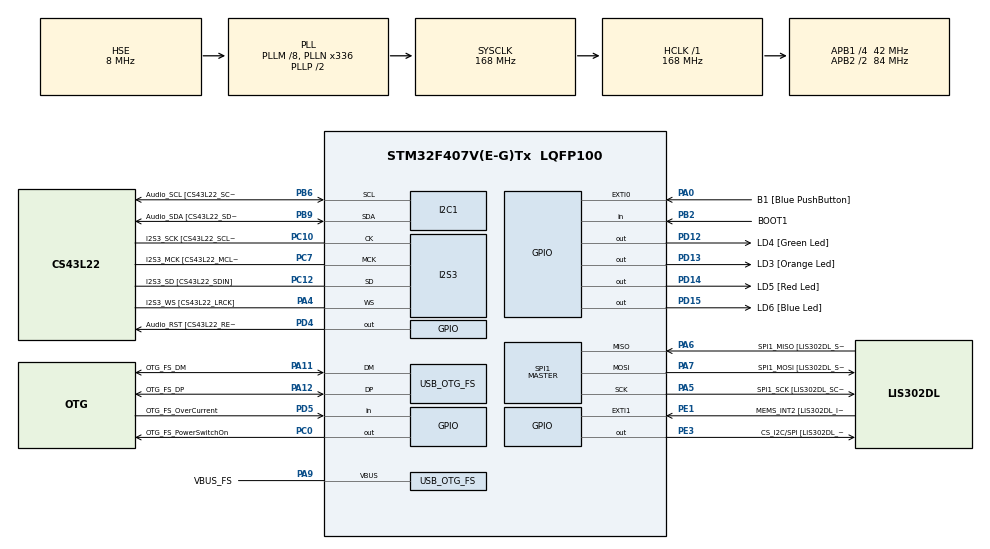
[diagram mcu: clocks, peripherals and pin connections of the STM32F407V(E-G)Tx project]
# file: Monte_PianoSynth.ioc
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PA11.GPIO_Speed=GPIO_SPEED_FREQ_LOW
PD12.GPIO_Label=LD4 [Green Led]
PH0-OSC_IN.Signal=RCC_OSC_IN
PC10.GPIO_PuPd=GPIO_NOPULL
SPI1.VirtualType=VM_MASTER
PB10.GPIO_PuPd=GPIO_NOPULL
PA10.GPIO_PuPd=GPIO_NOPULL
PC12.Signal=I2S3_SD
PA14.GPIO_Label=SWCLK
PA6.GPIO_Label=SPI1_MISO [LIS302DL_SDO]
PB6.GPIO_Label=Audio_SCL [CS43L22_SCL]
PC15-OSC32_OUT.GPIO_Label=PC15-OSC32_OUT
RCC.SYSCLKSource=RCC_SYSCLKSOURCE_PLLCLK
PC3.GPIO_Speed=GPIO_SPEED_FREQ_LOW
PA6.GPIO_Mode=GPIO_MODE_AF_PP
PD14.GPIO_Speed=GPIO_SPEED_FREQ_LOW
PA4.Mode=Half_Duplex_Master
SPI1.Direction=SPI_DIRECTION_2LINES
I2S3.AudioFreq-Half_Duplex_Master=I2S_AUDIOFREQ_96K
PD4.Signal=GPIO_Output
RCC.APB2TimFreq_Value=168000000
PB6.Signal=I2C1_SCL
PC7.Signal=I2S3_MCK
PB6.Mode=I2C
PC3.Signal=I2S2_SD
PE1.Signal=GPXTI1
USB_OTG_FS.phy_itface=HCD_PHY_EMBEDDED
PB2.Signal=GPIO_Input
I2S3.ErrorAudioFreq=-2.34 %
PA5.GPIO_PuPd=GPIO_NOPULL
I2S3.ErrorAudioFreq-Half_Duplex_Master=0.8 %
PD5.GPIO_Mode=GPIO_MODE_INPUT
PD14.GPIO_PuPd=GPIO_NOPULL
PB2.GPIO_PuPd=GPIO_NOPULL
SPI1.CalculateBaudRate-Full_Duplex_Master=42.0 MBits/s
Mcu.Package=LQFP100
PB9.Signal=I2C1_SDA
PD12.Signal=GPIO_Output
PB9.GPIO_PuPd=GPIO_NOPULL
PA10.Signal=USB_OTG_FS_ID
RCC.APB2CLKDivider=RCC_HCLK_DIV2
RCC.APB1TimFreq_Value=84000000
PC12.GPIO_PuPd=GPIO_NOPULL
PA6.GPIO_Speed=GPIO_SPEED_FREQ_LOW
PA12.GPIO_PuPd=GPIO_NOPULL
PA4.GPIO_Label=I2S3_WS [CS43L22_LRCK]
PD15.Signal=GPIO_Output
PC0.PinState=GPIO_PIN_SET
PA5.Mode=Full_Duplex_Master
I2S3.FullDuplexMode=I2S_FULLDUPLEXMODE_DISABLE
PA9.GPIO_Label=VBUS_FS
PB6.GPIO_PuPd=GPIO_NOPULL
PA11.GPIO_Label=OTG_FS_DM
PE1.GPIO_PuPd=GPIO_NOPULL
PC0.Signal=GPIO_Output
RCC.APB1CLKDivider=RCC_HCLK_DIV4
PC14-OSC32_IN.Signal=RCC_OSC32_IN
PA0-WKUP.GPIO_ModeDefaultEXTI=GPIO_MODE_EVT_RISING
PA0-WKUP.GPIO_Label=B1 [Blue PushButton]
PA0-WKUP.Signal=GPXTI0
USB_HOST0.BSP.STBoard=false
PC10.GPIO_Mode=GPIO_MODE_AF_PP
PB10.GPIO_Mode=GPIO_MODE_AF_PP
PA9.Signal=USB_OTG_FS_VBUS
I2S3.VirtualMode=I2S_MODE_MASTER
PC7.GPIO_PuPd=GPIO_NOPULL
PB10.Signal=I2S2_CK
PA5.Signal=SPI1_SCK
PC12.Mode=Half_Duplex_Master
PE1.GPIO_Label=MEMS_INT2 [LIS302DL_INT2]
USB_HOST.VirtualModeFS=Cdc
PA7.GPIO_Speed=GPIO_SPEED_FREQ_LOW
PB2.GPIO_Mode=GPIO_MODE_INPUT
SPI1.Mode=SPI_MODE_MASTER
PD4.GPIO_Speed=GPIO_SPEED_FREQ_LOW
PE3.GPIO_PuPd=GPIO_NOPULL
PH1-OSC_OUT.GPIO_Label=PH1-OSC_OUT
PA13.Mode=Serial_Wire
PC7.GPIO_Label=I2S3_MCK [CS43L22_MCLK]
PA4.Signal=I2S3_WS
PC12.GPIO_Mode=GPIO_MODE_AF_PP
PA5.GPIO_Label=SPI1_SCK [LIS302DL_SCL/SPC]
PE3.GPIO_Speed=GPIO_SPEED_FREQ_LOW
PC12.GPIO_Label=I2S3_SD [CS43L22_SDIN]
PA11.Signal=USB_OTG_FS_DM
ProjectManager.HeapSize=0x200
NVIC.PriorityGroup=NVIC_PRIORITYGROUP_0
PE3.Signal=GPIO_Output
PC3.GPIO_Label=PDM_OUT [MP45DT02_DOUT]
PA0-WKUP.GPIO_PuPd=GPIO_NOPULL
I2S3.Instance=SPI$Index
PB6.GPIO_Speed=GPIO_SPEED_FREQ_LOW
SPI1.BaudRatePrescaler-Full_Duplex_Master=SPI_BAUDRATEPRESCALER_2
USB_HOST0.BSP.mode=Output
Mcu.Family=STM32F4
PC3.GPIO_Mode=GPIO_MODE_AF_PP
PA6.Mode=Full_Duplex_Master
RCC.CortexFreq_Value=168000000
PB10.GPIO_Speed=GPIO_SPEED_FREQ_LOW
PB6.GPIO_Mode=GPIO_MODE_AF_OD
PD15.GPIO_Speed=GPIO_SPEED_FREQ_LOW
PC10.Signal=I2S3_CK
PA7.GPIO_Mode=GPIO_MODE_AF_PP
PC0.GPIO_Label=OTG_FS_PowerSwitchOn
PA11.Mode=Host_Only
PC10.GPIO_Speed=GPIO_SPEED_FREQ_LOW
PA11.GPIO_PuPd=GPIO_NOPULL
ProjectManager.StackSize=0x400
SPI1.Mode-Full_Duplex_Master=SPI_MODE_MASTER
PD13.Signal=GPIO_Output
PA12.Signal=USB_OTG_FS_DP
RCC.HCLKFreq_Value=168000000
USB_HOST0.BSP.ip=GPIO
RCC.AHBFreq_Value=168000000
PH0-OSC_IN.Mode=HSE-External-Oscillator
PH0-OSC_IN.GPIO_Label=PH0-OSC_IN
PA9.GPIO_Mode=GPIO_MODE_INPUT
RCC.HSE_VALUE=8000000
PA4.GPIO_PuPd=GPIO_NOPULL
PA4.GPIO_Speed=GPIO_SPEED_FREQ_LOW
PA6.GPIO_PuPd=GPIO_NOPULL
PC14-OSC32_IN.Mode=LSE-External-Oscillator
PA14.Mode=Serial_Wire
PA10.GPIO_Label=OTG_FS_ID
PC7.GPIO_Mode=GPIO_MODE_AF_PP
USB_HOST0.BSP.i2creg=0
PH1-OSC_OUT.Mode=HSE-External-Oscillator
USB_HOST0.BSP.i2caddr=0
PD13.GPIO_Label=LD3 [Orange Led]
PA6.Signal=SPI1_MISO
USB_HOST.USBH_HandleTypeDef-CDC_FS=hUsbHostFS
PD5.GPIO_Label=OTG_FS_OverCurrent
NVIC.OTG_FS_IRQn=true\:0\:0\:false\:false\:true\:true\:true
PD15.GPIO_PuPd=GPIO_NOPULL
USB_OTG_FS.VirtualMode=Host_Only
PA10.GPIO_Speed=GPIO_SPEED_FREQ_LOW
USB_HOST0.BSP.name=Drive_VBUS_FS
PB9.GPIO_Speed=GPIO_SPEED_FREQ_LOW
PC14-OSC32_IN.GPIO_Label=PC14-OSC32_IN
PC0.GPIO_PuPd=GPIO_NOPULL
PA12.GPIO_Speed=GPIO_SPEED_FREQ_LOW
PB3.GPIO_Label=SWO
PC15-OSC32_OUT.Mode=LSE-External-Oscillator
PD12.GPIO_Speed=GPIO_SPEED_FREQ_LOW
PD15.GPIO_Label=LD6 [Blue Led]
PA7.Mode=Full_Duplex_Master
PB9.GPIO_Label=Audio_SDA [CS43L22_SDA]
PC10.GPIO_Label=I2S3_SCK [CS43L22_SCLK]
USB_HOST0.BSP.solution=PC0
PC10.Mode=Half_Duplex_Master
USB_HOST.BSP.number=1
PD5.Signal=GPIO_Input
PE1.GPIO_ModeDefaultEXTI=GPIO_MODE_EVT_RISING
PA9.GPIO_PuPd=GPIO_NOPULL
PA12.GPIO_Label=OTG_FS_DP
PA10.GPIO_Mode=GPIO_MODE_AF_PP
PA13.Signal=SYS_JTMS-SWDIO
PD4.GPIO_PuPd=GPIO_NOPULL
PA9.Mode=Activate_VBUS
PC0.GPIO_Speed=GPIO_SPEED_FREQ_LOW
I2S3.RealAudioFreq-Half_Duplex_Master=96.774 KHz
ProjectManager.TargetToolchain=STM32CubeIDE
PB10.GPIO_Label=CLK_IN [MP45DT02_CLK]
PB9.Mode=I2C
PC15-OSC32_OUT.Signal=RCC_OSC32_OUT
PA7.GPIO_PuPd=GPIO_NOPULL
board=STM32F407G-DISC1
PD13.GPIO_Speed=GPIO_SPEED_FREQ_LOW
PC7.GPIO_Speed=GPIO_SPEED_FREQ_LOW
RCC.VCOOutputFreq_Value=336000000
PB9.GPIO_Mode=GPIO_MODE_AF_OD
PA12.GPIO_Mode=GPIO_MODE_AF_PP
PA4.GPIO_Mode=GPIO_MODE_AF_PP
RCC.APB2Freq_Value=84000000
USB_HOST0.BSP.api=Unknown
PD4.GPIO_Label=Audio_RST [CS43L22_RESET]
PH1-OSC_OUT.Signal=RCC_OSC_OUT
PD13.GPIO_PuPd=GPIO_NOPULL
PD5.GPIO_PuPd=GPIO_NOPULL
PD14.GPIO_Label=LD5 [Red Led]
Mcu.Name=STM32F407V(E-G)Tx
PA13.GPIO_Label=SWDIO
PD14.Signal=GPIO_Output
RCC.48MHZClocksFreq_Value=48000000
PB3.Signal=SYS_JTDO-SWO
RCC.SYSCLKFreq_VALUE=168000000
PA7.GPIO_Label=SPI1_MOSI [LIS302DL_SDA/SDI/SDO]
PA12.Mode=Host_Only
VP_USB_HOST_VS_USB_HOST_CDC_FS.Mode=CDC_FS
PA14.Signal=SYS_JTCK-SWCLK
PB2.GPIO_Label=BOOT1
RCC.HSI_VALUE=16000000
PA5.GPIO_Speed=GPIO_SPEED_FREQ_LOW
RCC.PLLQ=7
I2S3.RealAudioFreq=93.75 KHz
RCC.PLLM=8
RCC.PLLN=336
PE3.GPIO_Label=CS_I2C/SPI [LIS302DL_CS_I2C/SPI]
PC7.Mode=Master_Clock_Activated
PA11.GPIO_Mode=GPIO_MODE_AF_PP
RCC.APB1Freq_Value=42000000
PA5.GPIO_Mode=GPIO_MODE_AF_PP
PC12.GPIO_Speed=GPIO_SPEED_FREQ_LOW
PC3.GPIO_PuPd=GPIO_NOPULL
PD12.GPIO_PuPd=GPIO_NOPULL
PA7.Signal=SPI1_MOSI
USB_HOST0.BSP.instance=PC0

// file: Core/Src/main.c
/* USER CODE BEGIN Header */
/**
  ******************************************************************************
  * @file           : main.c
  * @brief          : Main program body
  ******************************************************************************
  * @attention
  *
  * <h2><center>&copy; Copyright (c) 2026 STMicroelectronics.
  * All rights reserved.</center></h2>
  *
  * This software component is licensed by ST under Ultimate Liberty license
  * SLA0044, the "License"; You may not use this file except in compliance with
  * the License. You may obtain a copy of the License at:
  *                             www.st.com/SLA0044
  *
  ******************************************************************************
  */
/* USER CODE END Header */
#include <stdio.h>
#include "main.h"
#include "usb_host.h"

/* USER CODE BEGIN Includes */
#include "piano_app.h"
/* USER CODE END Includes */

I2C_HandleTypeDef hi2c1;

I2S_HandleTypeDef hi2s3;

SPI_HandleTypeDef hspi1;

void SystemClock_Config(void);
static void MX_GPIO_Init(void);
static void MX_I2C1_Init(void);
static void MX_I2S3_Init(void);
static void MX_SPI1_Init(void);
void MX_USB_HOST_Process(void);

int main(void)
{

  /* MCU Configuration--------------------------------------------------------*/

  /* Reset of all peripherals, Initializes the Flash interface and the Systick. */
  HAL_Init();

  /* Configure the system clock */
  SystemClock_Config();

  /* Initialize all configured peripherals */
  MX_GPIO_Init();
  MX_I2C1_Init();
  MX_I2S3_Init();
  MX_SPI1_Init();
  MX_USB_HOST_Init();
  /* USER CODE BEGIN 2 */
  PianoApp_Init();

  /* USER CODE END 2 */
  printf("HELLO\r\n");
  /* Infinite loop */
  while (1)
  {
    MX_USB_HOST_Process();

    /* USER CODE BEGIN 3 */
    PianoApp_Process();

  }
  /* USER CODE END 3 */
}

void SystemClock_Config(void)
{
  RCC_OscInitTypeDef RCC_OscInitStruct = {0};
  RCC_ClkInitTypeDef RCC_ClkInitStruct = {0};
  RCC_PeriphCLKInitTypeDef PeriphClkInitStruct = {0};

  /** Configure the main internal regulator output voltage
  */
  __HAL_RCC_PWR_CLK_ENABLE();
  __HAL_PWR_VOLTAGESCALING_CONFIG(PWR_REGULATOR_VOLTAGE_SCALE1);
  /** Initializes the RCC Oscillators according to the specified parameters
  * in the RCC_OscInitTypeDef structure.
  */
  RCC_OscInitStruct.OscillatorType = RCC_OSCILLATORTYPE_HSE;
  RCC_OscInitStruct.HSEState = RCC_HSE_ON;
  RCC_OscInitStruct.PLL.PLLState = RCC_PLL_ON;
  RCC_OscInitStruct.PLL.PLLSource = RCC_PLLSOURCE_HSE;
  RCC_OscInitStruct.PLL.PLLM = 8;
  RCC_OscInitStruct.PLL.PLLN = 336;
  RCC_OscInitStruct.PLL.PLLP = RCC_PLLP_DIV2;
  RCC_OscInitStruct.PLL.PLLQ = 7;
  if (HAL_RCC_OscConfig(&RCC_OscInitStruct) != HAL_OK)
  {
    Error_Handler();
  }
  /** Initializes the CPU, AHB and APB buses clocks
  */
  RCC_ClkInitStruct.ClockType = RCC_CLOCKTYPE_HCLK|RCC_CLOCKTYPE_SYSCLK
                              |RCC_CLOCKTYPE_PCLK1|RCC_CLOCKTYPE_PCLK2;
  RCC_ClkInitStruct.SYSCLKSource = RCC_SYSCLKSOURCE_PLLCLK;
  RCC_ClkInitStruct.AHBCLKDivider = RCC_SYSCLK_DIV1;
  RCC_ClkInitStruct.APB1CLKDivider = RCC_HCLK_DIV4;
  RCC_ClkInitStruct.APB2CLKDivider = RCC_HCLK_DIV2;

  if (HAL_RCC_ClockConfig(&RCC_ClkInitStruct, FLASH_LATENCY_5) != HAL_OK)
  {
    Error_Handler();
  }
  PeriphClkInitStruct.PeriphClockSelection = RCC_PERIPHCLK_I2S;
  PeriphClkInitStruct.PLLI2S.PLLI2SN = 192;
  PeriphClkInitStruct.PLLI2S.PLLI2SR = 2;
  if (HAL_RCCEx_PeriphCLKConfig(&PeriphClkInitStruct) != HAL_OK)
  {
    Error_Handler();
  }
}

static void MX_I2C1_Init(void)
{

  hi2c1.Instance = I2C1;
  hi2c1.Init.ClockSpeed = 100000;
  hi2c1.Init.DutyCycle = I2C_DUTYCYCLE_2;
  hi2c1.Init.OwnAddress1 = 0;
  hi2c1.Init.AddressingMode = I2C_ADDRESSINGMODE_7BIT;
  hi2c1.Init.DualAddressMode = I2C_DUALADDRESS_DISABLE;
  hi2c1.Init.OwnAddress2 = 0;
  hi2c1.Init.GeneralCallMode = I2C_GENERALCALL_DISABLE;
  hi2c1.Init.NoStretchMode = I2C_NOSTRETCH_DISABLE;
  if (HAL_I2C_Init(&hi2c1) != HAL_OK)
  {
    Error_Handler();
  }

}

static void MX_I2S3_Init(void)
{

  hi2s3.Instance = SPI3;
  hi2s3.Init.Mode = I2S_MODE_MASTER_TX;
  hi2s3.Init.Standard = I2S_STANDARD_PHILIPS;
  hi2s3.Init.DataFormat = I2S_DATAFORMAT_16B;
  hi2s3.Init.MCLKOutput = I2S_MCLKOUTPUT_ENABLE;
  hi2s3.Init.AudioFreq = I2S_AUDIOFREQ_96K;
  hi2s3.Init.CPOL = I2S_CPOL_LOW;
  hi2s3.Init.ClockSource = I2S_CLOCK_PLL;
  hi2s3.Init.FullDuplexMode = I2S_FULLDUPLEXMODE_DISABLE;
  if (HAL_I2S_Init(&hi2s3) != HAL_OK)
  {
    Error_Handler();
  }

}

static void MX_SPI1_Init(void)
{

  /* SPI1 parameter configuration*/
  hspi1.Instance = SPI1;
  hspi1.Init.Mode = SPI_MODE_MASTER;
  hspi1.Init.Direction = SPI_DIRECTION_2LINES;
  hspi1.Init.DataSize = SPI_DATASIZE_8BIT;
  hspi1.Init.CLKPolarity = SPI_POLARITY_LOW;
  hspi1.Init.CLKPhase = SPI_PHASE_1EDGE;
  hspi1.Init.NSS = SPI_NSS_SOFT;
  hspi1.Init.BaudRatePrescaler = SPI_BAUDRATEPRESCALER_2;
  hspi1.Init.FirstBit = SPI_FIRSTBIT_MSB;
  hspi1.Init.TIMode = SPI_TIMODE_DISABLE;
  hspi1.Init.CRCCalculation = SPI_CRCCALCULATION_DISABLE;
  hspi1.Init.CRCPolynomial = 10;
  if (HAL_SPI_Init(&hspi1) != HAL_OK)
  {
    Error_Handler();
  }

}

static void MX_GPIO_Init(void)
{
  GPIO_InitTypeDef GPIO_InitStruct = {0};

  /* GPIO Ports Clock Enable */
  __HAL_RCC_GPIOE_CLK_ENABLE();
  __HAL_RCC_GPIOC_CLK_ENABLE();
  __HAL_RCC_GPIOH_CLK_ENABLE();
  __HAL_RCC_GPIOA_CLK_ENABLE();
  __HAL_RCC_GPIOB_CLK_ENABLE();
  __HAL_RCC_GPIOD_CLK_ENABLE();

  /*Configure GPIO pin Output Level */
  HAL_GPIO_WritePin(CS_I2C_SPI_GPIO_Port, CS_I2C_SPI_Pin, GPIO_PIN_RESET);

  /*Configure GPIO pin Output Level */
  HAL_GPIO_WritePin(OTG_FS_PowerSwitchOn_GPIO_Port, OTG_FS_PowerSwitchOn_Pin, GPIO_PIN_SET);

  /*Configure GPIO pin Output Level */
  HAL_GPIO_WritePin(GPIOD, LD4_Pin|LD3_Pin|LD5_Pin|LD6_Pin
                          |Audio_RST_Pin, GPIO_PIN_RESET);

  /*Configure GPIO pin : CS_I2C_SPI_Pin */
  GPIO_InitStruct.Pin = CS_I2C_SPI_Pin;
  GPIO_InitStruct.Mode = GPIO_MODE_OUTPUT_PP;
  GPIO_InitStruct.Pull = GPIO_NOPULL;
  GPIO_InitStruct.Speed = GPIO_SPEED_FREQ_LOW;
  HAL_GPIO_Init(CS_I2C_SPI_GPIO_Port, &GPIO_InitStruct);

  /*Configure GPIO pin : OTG_FS_PowerSwitchOn_Pin */
  GPIO_InitStruct.Pin = OTG_FS_PowerSwitchOn_Pin;
  GPIO_InitStruct.Mode = GPIO_MODE_OUTPUT_PP;
  GPIO_InitStruct.Pull = GPIO_NOPULL;
  GPIO_InitStruct.Speed = GPIO_SPEED_FREQ_LOW;
  HAL_GPIO_Init(OTG_FS_PowerSwitchOn_GPIO_Port, &GPIO_InitStruct);

  /*Configure GPIO pin : PDM_OUT_Pin */
  GPIO_InitStruct.Pin = PDM_OUT_Pin;
  GPIO_InitStruct.Mode = GPIO_MODE_AF_PP;
  GPIO_InitStruct.Pull = GPIO_NOPULL;
  GPIO_InitStruct.Speed = GPIO_SPEED_FREQ_LOW;
  GPIO_InitStruct.Alternate = GPIO_AF5_SPI2;
  HAL_GPIO_Init(PDM_OUT_GPIO_Port, &GPIO_InitStruct);

  /*Configure GPIO pin : B1_Pin */
  GPIO_InitStruct.Pin = B1_Pin;
  GPIO_InitStruct.Mode = GPIO_MODE_EVT_RISING;
  GPIO_InitStruct.Pull = GPIO_NOPULL;
  HAL_GPIO_Init(B1_GPIO_Port, &GPIO_InitStruct);

  /*Configure GPIO pin : BOOT1_Pin */
  GPIO_InitStruct.Pin = BOOT1_Pin;
  GPIO_InitStruct.Mode = GPIO_MODE_INPUT;
  GPIO_InitStruct.Pull = GPIO_NOPULL;
  HAL_GPIO_Init(BOOT1_GPIO_Port, &GPIO_InitStruct);

  /*Configure GPIO pin : CLK_IN_Pin */
  GPIO_InitStruct.Pin = CLK_IN_Pin;
  GPIO_InitStruct.Mode = GPIO_MODE_AF_PP;
  GPIO_InitStruct.Pull = GPIO_NOPULL;
  GPIO_InitStruct.Speed = GPIO_SPEED_FREQ_LOW;
  GPIO_InitStruct.Alternate = GPIO_AF5_SPI2;
  HAL_GPIO_Init(CLK_IN_GPIO_Port, &GPIO_InitStruct);

  /*Configure GPIO pins : LD4_Pin LD3_Pin LD5_Pin LD6_Pin
                           Audio_RST_Pin */
  GPIO_InitStruct.Pin = LD4_Pin|LD3_Pin|LD5_Pin|LD6_Pin
                          |Audio_RST_Pin;
  GPIO_InitStruct.Mode = GPIO_MODE_OUTPUT_PP;
  GPIO_InitStruct.Pull = GPIO_NOPULL;
  GPIO_InitStruct.Speed = GPIO_SPEED_FREQ_LOW;
  HAL_GPIO_Init(GPIOD, &GPIO_InitStruct);

  /*Configure GPIO pin : OTG_FS_OverCurrent_Pin */
  GPIO_InitStruct.Pin = OTG_FS_OverCurrent_Pin;
  GPIO_InitStruct.Mode = GPIO_MODE_INPUT;
  GPIO_InitStruct.Pull = GPIO_NOPULL;
  HAL_GPIO_Init(OTG_FS_OverCurrent_GPIO_Port, &GPIO_InitStruct);

  /*Configure GPIO pin : MEMS_INT2_Pin */
  GPIO_InitStruct.Pin = MEMS_INT2_Pin;
  GPIO_InitStruct.Mode = GPIO_MODE_EVT_RISING;
  GPIO_InitStruct.Pull = GPIO_NOPULL;
  HAL_GPIO_Init(MEMS_INT2_GPIO_Port, &GPIO_InitStruct);

}

/* USER CODE BEGIN 4 */

#ifdef __cplusplus
extern "C" {
#endif

void EXTI4_IRQHandler(void) {
    HAL_GPIO_EXTI_IRQHandler(GPIO_PIN_4);
}

void EXTI9_5_IRQHandler(void) {
    HAL_GPIO_EXTI_IRQHandler(GPIO_PIN_5);
    HAL_GPIO_EXTI_IRQHandler(GPIO_PIN_6);
    HAL_GPIO_EXTI_IRQHandler(GPIO_PIN_7);
    HAL_GPIO_EXTI_IRQHandler(GPIO_PIN_8);
    HAL_GPIO_EXTI_IRQHandler(GPIO_PIN_9);
}

void EXTI15_10_IRQHandler(void) {
    HAL_GPIO_EXTI_IRQHandler(GPIO_PIN_10);
    HAL_GPIO_EXTI_IRQHandler(GPIO_PIN_11);
    HAL_GPIO_EXTI_IRQHandler(GPIO_PIN_12);
    HAL_GPIO_EXTI_IRQHandler(GPIO_PIN_13);
    HAL_GPIO_EXTI_IRQHandler(GPIO_PIN_14);
    HAL_GPIO_EXTI_IRQHandler(GPIO_PIN_15);
}

#ifdef __cplusplus
}
#endif

/* USER CODE END 4 */
void Error_Handler(void)
{
  __disable_irq();
  while (1)
  {
  }
}

/************************ (C) COPYRIGHT STMicroelectronics *****END OF FILE****/
